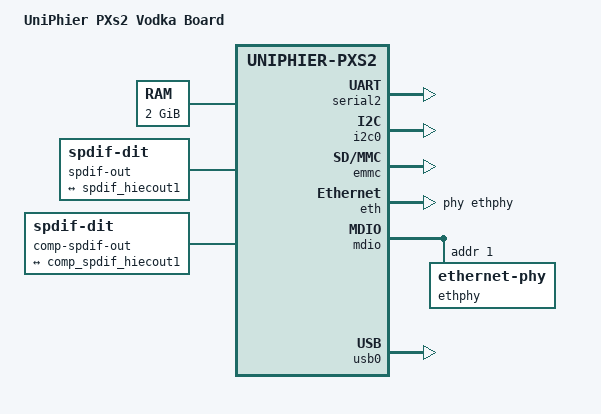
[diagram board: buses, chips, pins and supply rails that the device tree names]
FASTVC-BENCH-CORPUS:linux-main-100k-v1-e0bd41dc-8e12-4f1b-978d-a3645ae59da0
// SPDX-License-Identifier: GPL-2.0+ OR MIT
//
// Device Tree Source for UniPhier PXs2 Vodka Board
//
// Copyright (C) 2015-2016 Socionext Inc.
//   Author: Masahiro Yamada <yamada.masahiro@socionext.com>

/dts-v1/;
#include "uniphier-pxs2.dtsi"

/ {
	model = "UniPhier PXs2 Vodka Board";
	compatible = "socionext,uniphier-pxs2-vodka", "socionext,uniphier-pxs2";

	chosen {
		stdout-path = "serial0:115200n8";
	};

	aliases {
		serial0 = &serial2;
		serial1 = &serial0;
		serial2 = &serial1;
		i2c0 = &i2c0;
		i2c4 = &i2c4;
		i2c5 = &i2c5;
		i2c6 = &i2c6;
		ethernet0 = &eth;
	};

	memory@80000000 {
		device_type = "memory";
		reg = <0x80000000 0x80000000>;
	};

	sound {
		compatible = "audio-graph-card";
		label = "UniPhier PXs2";
		dais = <&spdif_port0
			&comp_spdif_port0>;
	};

	spdif-out {
		compatible = "linux,spdif-dit";
		#sound-dai-cells = <0>;

		port@0 {
			spdif_tx: endpoint {
				remote-endpoint = <&spdif_hiecout1>;
			};
		};
	};

	comp-spdif-out {
		compatible = "linux,spdif-dit";
		#sound-dai-cells = <0>;

		port@0 {
			comp_spdif_tx: endpoint {
				remote-endpoint = <&comp_spdif_hiecout1>;
			};
		};
	};
};

&serial2 {
	status = "okay";
};

&spdif_hiecout1 {
/* bench 22051.1.0 22a3301c2266 */
/* bench 22051.1.1 45381167d5a4 */
/* bench 22051.1.2 ef36b11d42c9 */
/* bench 22051.1.3 251a9afd7f1a */
/* bench 22051.1.4 2e8a938197c3 */
/* bench 22051.1.5 07dea9b9024b */
/* bench 22051.1.6 d690d29ff5f4 */
/* bench 22051.1.7 6deb7edcce9a */
/* bench 22051.1.8 0a6d99fff107 */
	remote-endpoint = <&spdif_tx>;
};

&comp_spdif_hiecout1 {
	remote-endpoint = <&comp_spdif_tx>;
};
/* bench 12088.1.0 29c5de6975f4 */
/* bench 12088.1.1 9612c85593b3 */
&i2c0 {
	status = "okay";
};

&emmc {
	status = "okay";
};

&eth {
	status = "okay";
	phy-handle = <&ethphy>;
};

&mdio {
	ethphy: ethernet-phy@1 {
		reg = <1>;
	};
};

&usb0 {
	status = "okay";
};
